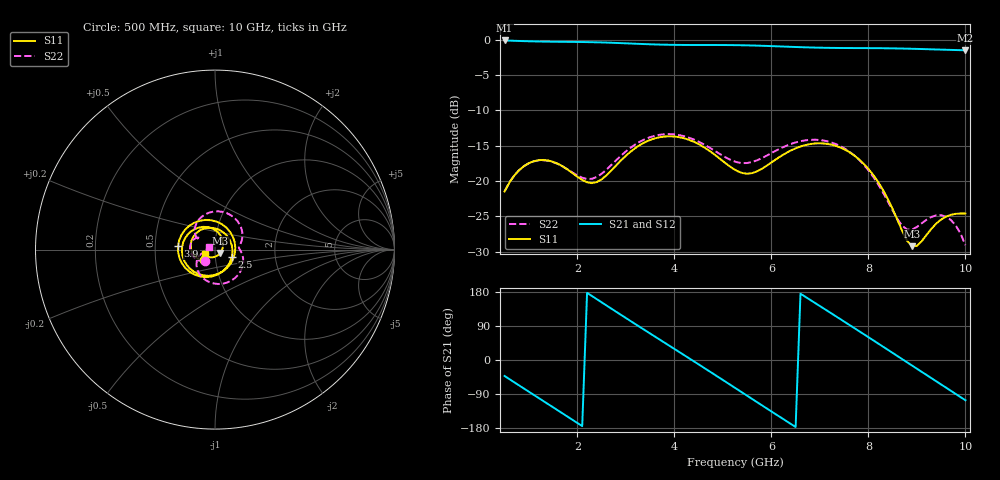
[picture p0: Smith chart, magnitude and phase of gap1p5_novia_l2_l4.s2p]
! Touchstone file exported from HFSS 3D Layout Design 2026.1.0
!  File:  D:/Work/ADS/HFSS_VERDICT/hfss_sma_connector_cpw.aedt
!  Generated:  07:44:14 PM Aug  5, 2026
!  Design:  SINGLE_END_SMA_CPW_30MM
!  Project:  hfss_sma_connector_cpw
! Variables:
!  $sma_Base_D = 6.25mm
!  $sma_Base_L = 8mm
!  $sma_Feet_L = 4mm
!  $sma_Feet_W = 1mm
!  $sma_Front_L = 1.5mm
!  $sma_Front_W = 6.5mm
!  $sma_Hole_D = 1.25mm
!  $sma_PTFE_D = 4.2mm
!  $sma_Pin_D = 0.95mm
!  $sma_Pin_P = 1.7mm
# GHz S MA R 50.000000
! Terminal data exported
! Port[1] = Port1
! Port[2] = S1_1_Pin_T1
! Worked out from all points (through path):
!   96 points, 500 MHz to 10 GHz, reference 50 ohm
!   highest |S21| = -0.12 dB at 500 MHz (marker M1); lowest = -1.5 dB at 10 GHz (marker M2)
!   group delay of S21, straight-line fit = 229 ps
!   lowest |S11| = -29.2 dB at 8.9 GHz (marker M3), VSWR 1.07, Z = 53 - j1.97 ohm
!   |S11| at or under -10 dB: start of sweep to end of sweep
!   |S22| runs from -29.1 to -13.4 dB; largest |S21 - S12| = 1.6e-14
!   S11 on the Smith chart (normalised r, x): 500 MHz: 0.88, -0.10; 2.5 GHz: 1.20, -0.10; 3.9 GHz: 0.66, +0.03; 10 GHz: 0.90, -0.04
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0.5  0.08417 -135.4  0.9862 -42.3  0.9862 -42.3  0.0846 -130.9
0.9  0.1273 -171.9  0.9756 -75.5  0.9756 -75.5  0.1273 -161.6
1.2  0.1402 159.6  0.9697 -100.2  0.9697 -100.2  0.1396 177.6
1.7  0.1265 105.9  0.9645 -141.4  0.9645 -141.4  0.1263 150.4
2.1  0.1015 48.5  0.9614 -174.5  0.9614 -174.5  0.1053 143.3
2.5  0.1025 -23.8  0.9549 152.2  0.9549 152.2  0.1123 147.1
3.1  0.1612 -107.9  0.938 102.6  0.938 102.6  0.172 129.4
3.7  0.2039 -167.5  0.9222 53.6  0.9222 53.6  0.2121 92.1
3.9  0.2069 174.2  0.919 37.4  0.919 37.4  0.2144 78.5
4.3  0.1954 137.5  0.9161 4.8  0.9161 4.8  0.2023 51.8
4.6  0.174 108.2  0.9158 -19.8  0.9158 -19.8  0.1819 33.7
5.3  0.1172 21.2  0.9131 -77.6  0.9131 -77.6  0.1353 7.4
5.7  0.1166 -40.4  0.9066 -110.9  0.9066 -110.9  0.1397 -0.9
6.2  0.15 -103.6  0.8942 -152.2  0.8942 -152.2  0.1706 -22.7
6.9  0.184 -168.4  0.8781 150.5  0.8781 150.5  0.1956 -70.0
7.3  0.1782 158.8  0.8731 117.8  0.8731 117.8  0.1839 -99.8
7.7  0.1521 125.9  0.8711 85.0  0.8711 85.0  0.1523 -128.9
8.1  0.1103 90.6  0.8699 52.0  0.8699 52.0  0.1069 -154.0
8.5  0.06323 46.2  0.8669 18.7  0.8669 18.7  0.06176 -164.9
8.9  0.03451 -32.5  0.8612 -14.6  0.8612 -14.6  0.04524 -146.9
9.5  0.05328 -130.2  0.8495 -64.6  0.8495 -64.6  0.05718 -157.6
10  0.05878 -157.3  0.8401 -106.2  0.8401 -106.2  0.03511 154.8
